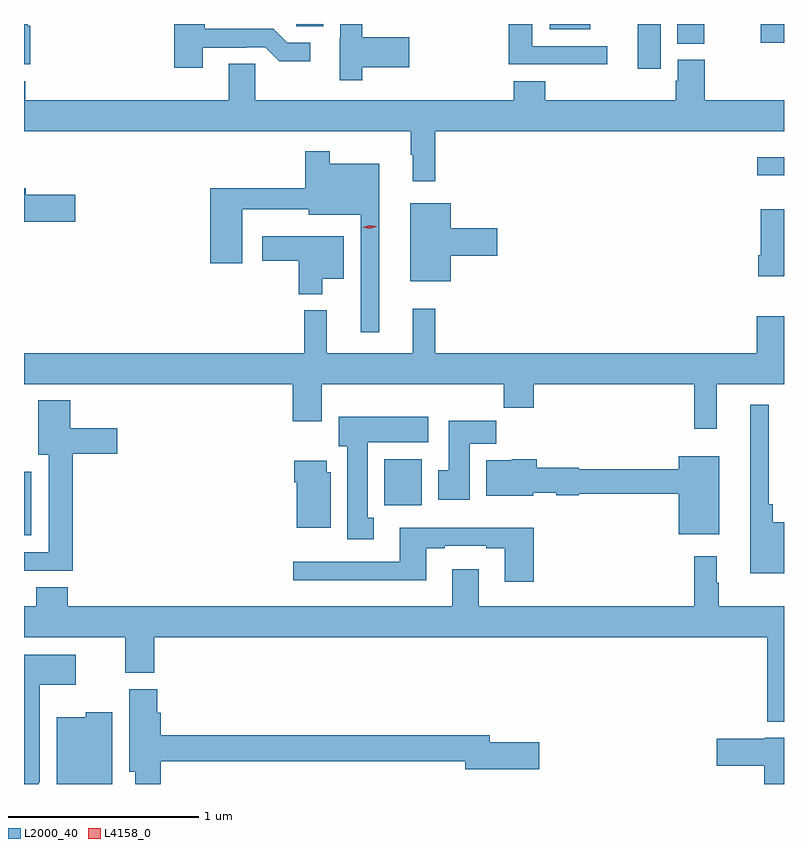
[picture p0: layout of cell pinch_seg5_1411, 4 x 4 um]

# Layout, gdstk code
import gdstk
lib = gdstk.Library(unit=1e-6, precision=1e-09)
def R(c, l, rs):  # rectangles x0, y0, x1, y1
    for r in rs: c.add(gdstk.rectangle(r[:2], r[2:], *l))
def P(c, l, *ps):  # polygons
    for p in ps: c.add(gdstk.Polygon(p, *l))
L2000_40 = (2000, 40)
L4158_0 = (4158, 0)

pinch_seg5_1411 = lib.new_cell('pinch_seg5_1411')
R(pinch_seg5_1411, L2000_40, [(156.361,887.933,156.4,888.268), (158.258,888.092,158.455,888.334), (160.221,889.827,160.361,889.924), (159.59,890.388,159.712,890.624), (159.8,890.521,159.942,890.624), (160.238,890.525,160.361,890.624), (159.128,890.597,159.34,890.624), (157.794,890.611,157.936,890.624)])
P(pinch_seg5_1411, L2000_40, [(159.43,890.508),(159.037,890.508),(159.037,890.624),(158.912,890.624),(158.912,890.411),(159.43,890.411)],
  [(157.303,890.499),(157.532,890.499),(157.532,890.502),(157.632,890.502),(157.705,890.429),(157.867,890.429),(157.867,890.526),(157.746,890.526),(157.673,890.599),(157.311,890.599),(157.311,890.624),(157.151,890.624),(157.151,890.394),(157.303,890.394)],
  [(156.395,890.615),(156.382,890.615),(156.382,890.624),(156.361,890.624),(156.361,890.411),(156.395,890.411)],
  [(158.141,890.396),(158.389,890.396),(158.389,890.554),(158.141,890.554),(158.141,890.624),(158.025,890.624),(158.025,890.55),(158.024,890.55),(158.024,890.328),(158.141,890.328)],
  [(158.525,890.06),(160.361,890.06),(160.361,890.224),(159.944,890.224),(159.944,890.436),(159.803,890.436),(159.803,890.325),(159.791,890.325),(159.791,890.224),(159.104,890.224),(159.104,890.323),(158.939,890.323),(158.939,890.224),(157.578,890.224),(157.578,890.414),(157.439,890.414),(157.439,890.224),(156.368,890.224),(156.368,890.323),(156.361,890.323),(156.361,890.06),(158.397,890.06),(158.397,889.937),(158.408,889.937),(158.408,889.797),(158.525,889.797)],
  [(158.23,889.888),(157.969,889.888),(157.969,889.954),(157.84,889.954),(157.84,889.759),(157.34,889.759),(157.34,889.365),(157.51,889.365),(157.51,889.649),(157.859,889.649),(157.859,889.619),(158.133,889.619),(158.133,889.002),(158.23,889.002)],
  [(156.631,889.725),(156.37,889.725),(156.37,889.759),(156.361,889.759),(156.361,889.583),(156.631,889.583)],
  [(158.608,889.403),(158.851,889.403),(158.851,889.55),(158.608,889.55),(158.608,889.681),(158.393,889.681),(158.393,889.271),(158.608,889.271)],
  [(160.361,889.648),(160.238,889.648),(160.238,889.408),(160.226,889.408),(160.226,889.296),(160.361,889.296)],
  [(157.93,889.283),(158.044,889.283),(158.044,889.507),(157.614,889.507),(157.614,889.378),(157.808,889.378),(157.808,889.202),(157.93,889.202)],
  [(160.007,888.728),(160.361,888.728),(160.361,889.087),(160.217,889.087),(160.217,888.892),(158.525,888.892),(158.525,889.126),(158.408,889.126),(158.408,888.892),(157.955,888.892),(157.955,889.117),(157.837,889.117),(157.837,888.892),(156.361,888.892),(156.361,888.728),(157.775,888.728),(157.775,888.534),(157.927,888.534),(157.927,888.728),(158.887,888.728),(158.887,888.604),(159.044,888.604),(159.044,888.728),(159.889,888.728),(159.889,888.495),(160.007,888.495)],
  [(156.617,888.362),(156.853,888.362),(156.853,888.496),(156.604,888.496),(156.604,888.643),(156.437,888.643),(156.437,888.356),(156.491,888.356),(156.491,887.844),(156.361,887.844),(156.361,887.747),(156.617,887.747)],
  [(160.361,888.001),(160.301,888.001),(160.301,888.097),(160.281,888.097),(160.281,888.619),(160.184,888.619),(160.184,887.732),(160.361,887.732)],
  [(158.203,888.026),(158.17,888.026),(158.17,888.422),(158.488,888.422),(158.488,888.556),(158.018,888.556),(158.018,888.402),(158.063,888.402),(158.063,887.913),(158.203,887.913)],
  [(158.707,888.416),(158.846,888.416),(158.846,888.535),(158.597,888.535),(158.597,888.276),(158.54,888.276),(158.54,888.12),(158.707,888.12)],
  [(160.021,888.349),(159.806,888.349),(159.806,888.28),(159.282,888.28),(159.282,888.288),(159.059,888.288),(159.059,888.334),(158.928,888.334),(158.928,888.328),(158.795,888.328),(158.795,888.14),(159.042,888.14),(159.042,888.158),(159.162,888.158),(159.162,888.143),(159.282,888.143),(159.282,888.151),(159.806,888.151),(159.806,887.939),(160.021,887.939)],
  [(157.975,888.264),(157.954,888.264),(157.954,888.325),(157.784,888.325),(157.784,888.212),(157.796,888.212),(157.796,887.972),(157.975,887.972)],
  [(159.044,887.974),(158.339,887.974),(158.339,887.793),(157.779,887.793),(157.779,887.696),(158.479,887.696),(158.479,887.865),(158.575,887.865),(158.575,887.877),(158.795,887.877),(158.795,887.865),(158.891,887.865),(158.891,887.688),(159.044,887.688)],
  [(160.361,887.56),(160.018,887.56),(160.018,887.684),(160.006,887.684),(160.006,887.824),(159.889,887.824),(159.889,887.56),(158.755,887.56),(158.755,887.755),(158.615,887.755),(158.615,887.56),(156.59,887.56),(156.59,887.659),(156.425,887.659),(156.425,887.56),(156.361,887.56),(156.361,887.396),(156.893,887.396),(156.893,887.209),(157.046,887.209),(157.046,887.396),(160.272,887.396),(160.272,886.952),(160.361,886.952)],
  [(156.445,886.633),(156.445,887.147),(156.634,887.147),(156.634,887.305),(156.361,887.305),(156.361,886.624),(156.436,886.624)],
  [(157.082,886.744),(158.684,886.744),(158.684,886.702),(159.073,886.702),(159.073,886.844),(158.812,886.844),(158.812,886.88),(157.082,886.88),(157.082,886.998),(157.061,886.998),(157.061,887.124),(156.914,887.124),(156.914,886.688),(156.947,886.688),(156.947,886.624),(157.082,886.624)],
  [(156.826,887.002),(156.687,887.002),(156.687,886.975),(156.533,886.975),(156.533,886.624),(156.826,886.624)],
  [(160.361,886.867),(160.26,886.867),(160.26,886.862),(160.008,886.862),(160.008,886.72),(160.256,886.72),(160.256,886.624),(160.361,886.624)])
P(pinch_seg5_1411, L4158_0, [(158.18,889.546),(158.144,889.553),(158.143,889.554),(158.144,889.554),(158.178,889.566),(158.214,889.559),(158.214,889.559),(158.214,889.558)])

lib.write_gds('pinch_seg5_1411.gds')
